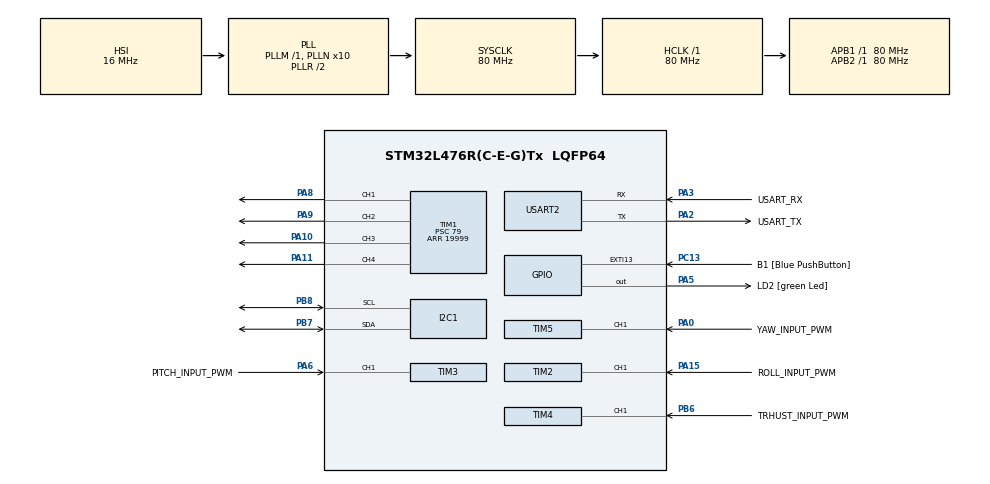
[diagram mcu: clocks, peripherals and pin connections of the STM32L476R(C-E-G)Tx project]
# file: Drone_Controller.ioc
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I2C1.Timing=0x10D19CE4
Mcu.Family=STM32L4
Mcu.Name=STM32L476R(C-E-G)Tx
Mcu.Package=LQFP64
NVIC.PriorityGroup=NVIC_PRIORITYGROUP_4
NVIC.TIM2_IRQn=true\:0\:0\:false\:false\:true\:true\:true\:true
NVIC.TIM3_IRQn=true\:0\:0\:false\:false\:true\:true\:true\:true
NVIC.TIM4_IRQn=true\:0\:0\:false\:false\:true\:true\:true\:true
NVIC.TIM5_IRQn=true\:0\:0\:false\:false\:true\:true\:true\:true
PA0.GPIO_Label=YAW_INPUT_PWM
PA0.Signal=S_TIM5_CH1
PA10.Signal=S_TIM1_CH3
PA11.Signal=S_TIM1_CH4
PA13\ (JTMS-SWDIO).GPIO_Label=TMS
PA13\ (JTMS-SWDIO).Mode=Serial_Wire
PA13\ (JTMS-SWDIO).Signal=SYS_JTMS-SWDIO
PA14\ (JTCK-SWCLK).GPIO_Label=TCK
PA14\ (JTCK-SWCLK).Mode=Serial_Wire
PA14\ (JTCK-SWCLK).Signal=SYS_JTCK-SWCLK
PA15\ (JTDI).GPIO_Label=ROLL_INPUT_PWM
PA15\ (JTDI).Signal=S_TIM2_CH1
PA2.GPIO_Label=USART_TX
PA2.GPIO_Mode=GPIO_MODE_AF_PP
PA2.GPIO_PuPd=GPIO_NOPULL
PA2.GPIO_Speed=GPIO_SPEED_FREQ_VERY_HIGH
PA2.Mode=Asynchronous
PA2.Signal=USART2_TX
PA3.GPIO_Label=USART_RX
PA3.GPIO_Mode=GPIO_MODE_AF_PP
PA3.GPIO_PuPd=GPIO_NOPULL
PA3.GPIO_Speed=GPIO_SPEED_FREQ_VERY_HIGH
PA3.Mode=Asynchronous
PA3.Signal=USART2_RX
PA5.GPIO_Label=LD2 [green Led]
PA5.GPIO_ModeDefaultOutputPP=GPIO_MODE_OUTPUT_PP
PA5.GPIO_PuPd=GPIO_NOPULL
PA5.GPIO_Speed=GPIO_SPEED_FREQ_LOW
PA5.Signal=GPIO_Output
PA6.GPIO_Label=PITCH_INPUT_PWM
PA6.Signal=S_TIM3_CH1
PA8.Signal=S_TIM1_CH1
PA9.Signal=S_TIM1_CH2
PB3\ (JTDO-TRACESWO).GPIO_Label=SWO
PB3\ (JTDO-TRACESWO).Signal=SYS_JTDO-SWO
PB6.GPIO_Label=TRHUST_INPUT_PWM
PB6.Signal=S_TIM4_CH1
PB7.Mode=I2C
PB7.Signal=I2C1_SDA
PB8.Mode=I2C
PB8.Signal=I2C1_SCL
PC13.GPIO_Label=B1 [Blue PushButton]
PC13.GPIO_ModeDefaultEXTI=GPIO_MODE_IT_FALLING
PC13.GPIO_PuPd=GPIO_NOPULL
PC13.Signal=GPXTI13
PC14-OSC32_IN\ (PC14).Mode=LSE-External-Oscillator
PC14-OSC32_IN\ (PC14).Signal=RCC_OSC32_IN
PC15-OSC32_OUT\ (PC15).Mode=LSE-External-Oscillator
PC15-OSC32_OUT\ (PC15).Signal=RCC_OSC32_OUT
PH0-OSC_IN\ (PH0).Signal=RCC_OSC_IN
PH1-OSC_OUT\ (PH1).Signal=RCC_OSC_OUT
ProjectManager.HeapSize=0x200
ProjectManager.StackSize=0x400
ProjectManager.TargetToolchain=STM32CubeIDE
RCC.ADCFreq_Value=64000000
RCC.AHBFreq_Value=80000000
RCC.APB1Freq_Value=80000000
RCC.APB1TimFreq_Value=80000000
RCC.APB2Freq_Value=80000000
RCC.APB2TimFreq_Value=80000000
RCC.CortexFreq_Value=80000000
RCC.HCLKFreq_Value=80000000
RCC.HSE_VALUE=8000000
RCC.HSI_VALUE=16000000
RCC.MSI_VALUE=4000000
RCC.PLLN=10
RCC.PLLSourceVirtual=RCC_PLLSOURCE_HSI
RCC.PREFETCH_ENABLE=1
RCC.SYSCLKFreq_VALUE=80000000
RCC.SYSCLKSource=RCC_SYSCLKSOURCE_PLLCLK
RCC.USBFreq_Value=64000000
RCC.VCOOutputFreq_Value=160000000
SH.S_TIM1_CH1.0=TIM1_CH1,PWM Generation1 CH1
SH.S_TIM1_CH2.0=TIM1_CH2,PWM Generation2 CH2
SH.S_TIM1_CH3.0=TIM1_CH3,PWM Generation3 CH3
SH.S_TIM1_CH4.0=TIM1_CH4,PWM Generation4 CH4
SH.S_TIM2_CH1.0=TIM2_CH1,PWM_Input_1
SH.S_TIM3_CH1.0=TIM3_CH1,PWM_Input_1
SH.S_TIM4_CH1.0=TIM4_CH1,PWM_Input_1
SH.S_TIM5_CH1.0=TIM5_CH1,PWM_Input_1
TIM1.Channel-PWM\ Generation1\ CH1=TIM_CHANNEL_1
TIM1.Channel-PWM\ Generation2\ CH2=TIM_CHANNEL_2
TIM1.Channel-PWM\ Generation3\ CH3=TIM_CHANNEL_3
TIM1.Channel-PWM\ Generation4\ CH4=TIM_CHANNEL_4
TIM1.Period=19999
TIM1.Prescaler=79
TIM2.Prescaler=0
TIM3.Period=25000
TIM3.Prescaler=79
TIM4.Period=25000
TIM4.Prescaler=79
USART2.VirtualMode-Asynchronous=VM_ASYNC
VP_TIM1_VS_ClockSourceINT.Mode=Internal
VP_TIM2_VS_ClockSourceINT.Mode=Internal
VP_TIM3_VS_ClockSourceINT.Mode=Internal
VP_TIM4_VS_ClockSourceINT.Mode=Internal
VP_TIM5_VS_ClockSourceINT.Mode=Internal
board=NUCLEO-L476RG

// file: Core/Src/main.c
/* USER CODE BEGIN Header */
/**
  ******************************************************************************
  * @file           : main.c
  * @brief          : Main program body
  ******************************************************************************
  * @attention
  *
  * Copyright (c) 2025 STMicroelectronics.
  * All rights reserved.
  *
  * This software is licensed under terms that can be found in the LICENSE file
  * in the root directory of this software component.
  * If no LICENSE file comes with this software, it is provided AS-IS.
  *
  ******************************************************************************
  */
/* USER CODE END Header */
#include "main.h"

/* USER CODE BEGIN Includes */
#include "accelerometer.h" // Include the accelerometer header file
#include <stdio.h> // Include standard I/O for printf
#include <string.h>
#include "PID.h"

/* USER CODE END Includes */

I2C_HandleTypeDef hi2c1;

TIM_HandleTypeDef htim1;
TIM_HandleTypeDef htim2;
TIM_HandleTypeDef htim3;
TIM_HandleTypeDef htim4;
TIM_HandleTypeDef htim5;

UART_HandleTypeDef huart2;

/* USER CODE BEGIN PV */
AccelData accel_data; // Structure to hold accelerometer data
GyroData gyro_data; // Structure to hold gyroscope data

Kalman_t kalman_pitch, kalman_roll; // Kalman filter structures for pitch and roll
float dt = 0.01f; // Time step (10 ms)

float pitch_calc, roll_calc; // Variables to hold calculated angles
float pitch_rate_calc, roll_rate_calc; // Variables to hold calculated rates
float yaw_rate = 0.0f; // Variable to hold yaw angle

PID pid_thrust, pid_pitch, pid_roll, pid_yaw; // PID controllers for pitch and roll
float M1, M2, M3, M4; // Motor control signals for the drone
float u_thrust, u_pitch, u_roll, u_yaw; // Control signals for thrust, pitch, roll and yaw

// Variables to log the angles, the actuators and the thrust
char tx_buffer[256]; // Buffer for UART transmission
uint32_t timestamp; // Timestamp for logging

// Variables for the transmitter inputs
int32_t roll_input, pitch_input, thrust_input, yaw_input;
float roll_input_deg, pitch_input_deg, thrust_input_g, yaw_input_degps;

int32_t previous_thrust_input = 0; // Variable to hold the previous thrust input for low-pass filtering
int32_t previous_roll_input = 0; // Variable to hold the previous roll input for low-pass filtering
int32_t previous_pitch_input = 0; // Variable to hold the previous pitch input for low-pass filtering
int32_t previous_yaw_input = 0; // Variable to hold the previous yaw input for low-pass filtering

// Gains (à régler)
float Kt = 1.0f/500.0f;   // gain thrust -> delta PWM
float Kp = 1.0f/30.0f;   // gain pitch  -> delta PWM
float Kr = 1.0f/30.0f;   // gain roll   -> delta PWM
float Ky = 1.0f/180.0f;   // gain yaw    -> delta PWM

/* USER CODE END PV */

void SystemClock_Config(void);
static void MX_GPIO_Init(void);
static void MX_USART2_UART_Init(void);
static void MX_TIM2_Init(void);
static void MX_I2C1_Init(void);
static void MX_TIM3_Init(void);
static void MX_TIM4_Init(void);
static void MX_TIM5_Init(void);
static void MX_TIM1_Init(void);

int main(void)
{

  /* MCU Configuration--------------------------------------------------------*/

  /* Reset of all peripherals, Initializes the Flash interface and the Systick. */
  HAL_Init();

  /* USER CODE BEGIN Init */
  Accelerometer_Init(&hi2c1); // Initialize the accelerometer
  Kalman_Init(&kalman_pitch, &kalman_roll); // Initialize Kalman filters for x, y, z axes

  // Initialize PID controllers for pitch and roll
  PID_Init(&pid_pitch, 1.0f, 0.1f, 0.01f, dt, -30, 30); // Initialize PID for pitch
  PID_Init(&pid_roll, 1.0f, 0.1f, 0.01f, dt, -30, 30); // Initialize PID for roll
  PID_Init(&pid_thrust, 1.0f, 0.1f, 0.01f, dt, 0, 2); // Initialize PID for thrust
  PID_Init(&pid_yaw, 1.0f, 0.1f, 0.01f, dt, -180, 180); // Initialize PID for yaw (if needed)

  timestamp = 0;

  /* USER CODE END Init */

  /* Configure the system clock */
  SystemClock_Config();

  /* Initialize all configured peripherals */
  MX_GPIO_Init();
  MX_USART2_UART_Init();
  MX_TIM2_Init();
  MX_I2C1_Init();
  MX_TIM3_Init();
  MX_TIM4_Init();
  MX_TIM5_Init();
  MX_TIM1_Init();
  /* USER CODE BEGIN 2 */

  // Start the TIM1 PWM channels for motor control
  HAL_TIM_PWM_Start(&htim1, TIM_CHANNEL_1);
  HAL_TIM_PWM_Start(&htim1, TIM_CHANNEL_2);
  HAL_TIM_PWM_Start(&htim1, TIM_CHANNEL_3);
  HAL_TIM_PWM_Start(&htim1, TIM_CHANNEL_4);

  // Arm the motors
  TIM1->CCR1 = 1000;
  TIM1->CCR2 = 1000;
  TIM1->CCR3 = 1000;
  TIM1->CCR4 = 1000;
  HAL_Delay(1000);
  TIM1->CCR1 = 2000;
  TIM1->CCR2 = 2000;
  TIM1->CCR3 = 2000;
  TIM1->CCR4 = 2000;
  HAL_Delay(1000);
  TIM1->CCR1 = 1000;
  TIM1->CCR2 = 1000;
  TIM1->CCR3 = 1000;
  TIM1->CCR4 = 1000;
  HAL_Delay(1000);
  /* USER CODE END 2 */

  /* Infinite loop */
  /* USER CODE BEGIN WHILE */
  while (1)
  {
    Accelerometer_Read(&hi2c1, &accel_data, &gyro_data); // Read accelerometer and gyro data

    angles_from_accel(accel_data, &pitch_calc, &roll_calc); // Calculate pitch and roll from accelerometer data
    angles_rate_from_gyro(gyro_data, &pitch_rate_calc, &roll_rate_calc, &yaw_rate); // Calculate pitch, roll and yaw rates from gyro data
    // Apply Kalman filter to the angles
    Kalman_GetAngle(&kalman_pitch, pitch_calc, pitch_rate_calc, dt);
    Kalman_GetAngle(&kalman_roll, roll_calc, roll_rate_calc, dt);

    // Calculate PID control for thrust, pitch, roll and yaw
    // u_thrust = PID_Compute(&pid_thrust, thrust_input_g, accel_data.z);
    u_pitch = PID_Compute(&pid_pitch, pitch_input_deg, kalman_pitch.angle);
    u_roll = PID_Compute(&pid_roll, roll_input_deg, kalman_roll.angle);
    u_yaw = PID_Compute(&pid_yaw, yaw_input_degps, yaw_rate);

    u_thrust = Kt * thrust_input; // Scale thrust control signal
    u_pitch = Kp * u_pitch; // Scale pitch control signal
    u_roll = Kr * u_roll; // Scale roll control signal
    u_yaw = Ky * u_yaw; // Scale yaw control signal

    /*
      Drone sketch (top view):
      (yaw is CCW for positive values)

          Back
          ROLL
           |
      [M3]     [M4]
         \     /
          \   /
           \ /
           [X]  -------> PITCH
           / \
          /   \
         /     \
      [M1]     [M2]
           |
           v
          Front
    */
    M1 = u_thrust - u_pitch - u_roll - u_yaw; // Motor 1 control signal CW
    M2 = u_thrust - u_pitch + u_roll + u_yaw; // Motor 2 control signal CCW
    M3 = u_thrust + u_pitch - u_roll + u_yaw; // Motor 3 control signal CCW
    M4 = u_thrust + u_pitch + u_roll - u_yaw; // Motor 4 control signal CW

    M1 = 1000 + (M1/4)*1000;
    M2 = 1000 + (M2/4)*1000;
    M3 = 1000 + (M3/4)*1000;
    M4 = 1000 + (M4/4)*1000;

    // Trouver le dépassement max
    float max_val = fmaxf(fmaxf(M1, M2), fmaxf(M3, M4));
    float min_val = fminf(fminf(M1, M2), fminf(M3, M4));

    // Calcul du facteur de scaling
    float scale = 1.0f;
    if (max_val > PWM_MAX) {
        float s = (PWM_MAX) / (max_val);
        if (s < scale) scale = s;
    }
    if (min_val < PWM_MIN) {
        float s = (PWM_MIN) / (min_val);
        if (s < scale) scale = s;
    }

    // Application du scaling (seulement sur les deltas)
    if (scale < 1.0f) {
        M1 = + (M1) * scale;
        M2 = + (M2) * scale;
        M3 = + (M3) * scale;
        M4 = + (M4) * scale;
    }

    // Clamp final
    M1 = fminf(fmaxf(M1, PWM_MIN), PWM_MAX);
    M2 = fminf(fmaxf(M2, PWM_MIN), PWM_MAX);
    M3 = fminf(fmaxf(M3, PWM_MIN), PWM_MAX);
    M4 = fminf(fmaxf(M4, PWM_MIN), PWM_MAX);

    TIM1->CCR1 = (uint32_t)M1; // Set PWM duty cycle for motor 1
    TIM1->CCR2 = (uint32_t)M2; // Set PWM duty cycle for motor 2
    TIM1->CCR3 = (uint32_t)M3; // Set PWM duty cycle for motor 3
    TIM1->CCR4 = (uint32_t)M4; // Set PWM duty cycle for motor 4

    HAL_Delay(dt * 1000);  // 10ms par boucle

    /* USER CODE END WHILE */

  }
}

void SystemClock_Config(void)
{
  RCC_OscInitTypeDef RCC_OscInitStruct = {0};
  RCC_ClkInitTypeDef RCC_ClkInitStruct = {0};

  /** Configure the main internal regulator output voltage
  */
  if (HAL_PWREx_ControlVoltageScaling(PWR_REGULATOR_VOLTAGE_SCALE1) != HAL_OK)
  {
    Error_Handler();
  }

  /** Initializes the RCC Oscillators according to the specified parameters
  * in the RCC_OscInitTypeDef structure.
  */
  RCC_OscInitStruct.OscillatorType = RCC_OSCILLATORTYPE_HSI;
  RCC_OscInitStruct.HSIState = RCC_HSI_ON;
  RCC_OscInitStruct.HSICalibrationValue = RCC_HSICALIBRATION_DEFAULT;
  RCC_OscInitStruct.PLL.PLLState = RCC_PLL_ON;
  RCC_OscInitStruct.PLL.PLLSource = RCC_PLLSOURCE_HSI;
  RCC_OscInitStruct.PLL.PLLM = 1;
  RCC_OscInitStruct.PLL.PLLN = 10;
  RCC_OscInitStruct.PLL.PLLP = RCC_PLLP_DIV7;
  RCC_OscInitStruct.PLL.PLLQ = RCC_PLLQ_DIV2;
  RCC_OscInitStruct.PLL.PLLR = RCC_PLLR_DIV2;
  if (HAL_RCC_OscConfig(&RCC_OscInitStruct) != HAL_OK)
  {
    Error_Handler();
  }

  /** Initializes the CPU, AHB and APB buses clocks
  */
  RCC_ClkInitStruct.ClockType = RCC_CLOCKTYPE_HCLK|RCC_CLOCKTYPE_SYSCLK
                              |RCC_CLOCKTYPE_PCLK1|RCC_CLOCKTYPE_PCLK2;
  RCC_ClkInitStruct.SYSCLKSource = RCC_SYSCLKSOURCE_PLLCLK;
  RCC_ClkInitStruct.AHBCLKDivider = RCC_SYSCLK_DIV1;
  RCC_ClkInitStruct.APB1CLKDivider = RCC_HCLK_DIV1;
  RCC_ClkInitStruct.APB2CLKDivider = RCC_HCLK_DIV1;

  if (HAL_RCC_ClockConfig(&RCC_ClkInitStruct, FLASH_LATENCY_4) != HAL_OK)
  {
    Error_Handler();
  }
}

static void MX_I2C1_Init(void)
{

  hi2c1.Instance = I2C1;
  hi2c1.Init.Timing = 0x10D19CE4;
  hi2c1.Init.OwnAddress1 = 0;
  hi2c1.Init.AddressingMode = I2C_ADDRESSINGMODE_7BIT;
  hi2c1.Init.DualAddressMode = I2C_DUALADDRESS_DISABLE;
  hi2c1.Init.OwnAddress2 = 0;
  hi2c1.Init.OwnAddress2Masks = I2C_OA2_NOMASK;
  hi2c1.Init.GeneralCallMode = I2C_GENERALCALL_DISABLE;
  hi2c1.Init.NoStretchMode = I2C_NOSTRETCH_DISABLE;
  if (HAL_I2C_Init(&hi2c1) != HAL_OK)
  {
    Error_Handler();
  }

  /** Configure Analogue filter
  */
  if (HAL_I2CEx_ConfigAnalogFilter(&hi2c1, I2C_ANALOGFILTER_ENABLE) != HAL_OK)
  {
    Error_Handler();
  }

  /** Configure Digital filter
  */
  if (HAL_I2CEx_ConfigDigitalFilter(&hi2c1, 0) != HAL_OK)
  {
    Error_Handler();
  }

}

static void MX_TIM1_Init(void)
{

  TIM_ClockConfigTypeDef sClockSourceConfig = {0};
  TIM_MasterConfigTypeDef sMasterConfig = {0};
  TIM_OC_InitTypeDef sConfigOC = {0};
  TIM_BreakDeadTimeConfigTypeDef sBreakDeadTimeConfig = {0};

  htim1.Instance = TIM1;
  htim1.Init.Prescaler = 79;
  htim1.Init.CounterMode = TIM_COUNTERMODE_UP;
  htim1.Init.Period = 19999;
  htim1.Init.ClockDivision = TIM_CLOCKDIVISION_DIV1;
  htim1.Init.RepetitionCounter = 0;
  htim1.Init.AutoReloadPreload = TIM_AUTORELOAD_PRELOAD_DISABLE;
  if (HAL_TIM_Base_Init(&htim1) != HAL_OK)
  {
    Error_Handler();
  }
  sClockSourceConfig.ClockSource = TIM_CLOCKSOURCE_INTERNAL;
  if (HAL_TIM_ConfigClockSource(&htim1, &sClockSourceConfig) != HAL_OK)
  {
    Error_Handler();
  }
  if (HAL_TIM_PWM_Init(&htim1) != HAL_OK)
  {
    Error_Handler();
  }
  sMasterConfig.MasterOutputTrigger = TIM_TRGO_RESET;
  sMasterConfig.MasterOutputTrigger2 = TIM_TRGO2_RESET;
  sMasterConfig.MasterSlaveMode = TIM_MASTERSLAVEMODE_DISABLE;
  if (HAL_TIMEx_MasterConfigSynchronization(&htim1, &sMasterConfig) != HAL_OK)
  {
    Error_Handler();
  }
  sConfigOC.OCMode = TIM_OCMODE_PWM1;
  sConfigOC.Pulse = 0;
  sConfigOC.OCPolarity = TIM_OCPOLARITY_HIGH;
  sConfigOC.OCNPolarity = TIM_OCNPOLARITY_HIGH;
  sConfigOC.OCFastMode = TIM_OCFAST_DISABLE;
  sConfigOC.OCIdleState = TIM_OCIDLESTATE_RESET;
  sConfigOC.OCNIdleState = TIM_OCNIDLESTATE_RESET;
  if (HAL_TIM_PWM_ConfigChannel(&htim1, &sConfigOC, TIM_CHANNEL_1) != HAL_OK)
  {
    Error_Handler();
  }
  if (HAL_TIM_PWM_ConfigChannel(&htim1, &sConfigOC, TIM_CHANNEL_2) != HAL_OK)
  {
    Error_Handler();
  }
  if (HAL_TIM_PWM_ConfigChannel(&htim1, &sConfigOC, TIM_CHANNEL_3) != HAL_OK)
  {
    Error_Handler();
  }
  if (HAL_TIM_PWM_ConfigChannel(&htim1, &sConfigOC, TIM_CHANNEL_4) != HAL_OK)
  {
    Error_Handler();
  }
  sBreakDeadTimeConfig.OffStateRunMode = TIM_OSSR_DISABLE;
  sBreakDeadTimeConfig.OffStateIDLEMode = TIM_OSSI_DISABLE;
  sBreakDeadTimeConfig.LockLevel = TIM_LOCKLEVEL_OFF;
  sBreakDeadTimeConfig.DeadTime = 0;
  sBreakDeadTimeConfig.BreakState = TIM_BREAK_DISABLE;
  sBreakDeadTimeConfig.BreakPolarity = TIM_BREAKPOLARITY_HIGH;
  sBreakDeadTimeConfig.BreakFilter = 0;
  sBreakDeadTimeConfig.Break2State = TIM_BREAK2_DISABLE;
  sBreakDeadTimeConfig.Break2Polarity = TIM_BREAK2POLARITY_HIGH;
  sBreakDeadTimeConfig.Break2Filter = 0;
  sBreakDeadTimeConfig.AutomaticOutput = TIM_AUTOMATICOUTPUT_DISABLE;
  if (HAL_TIMEx_ConfigBreakDeadTime(&htim1, &sBreakDeadTimeConfig) != HAL_OK)
  {
    Error_Handler();
  }
  HAL_TIM_MspPostInit(&htim1);

}

static void MX_TIM2_Init(void)
{

  TIM_ClockConfigTypeDef sClockSourceConfig = {0};
  TIM_SlaveConfigTypeDef sSlaveConfig = {0};
  TIM_IC_InitTypeDef sConfigIC = {0};
  TIM_MasterConfigTypeDef sMasterConfig = {0};

  htim2.Instance = TIM2;
  htim2.Init.Prescaler = 0;
  htim2.Init.CounterMode = TIM_COUNTERMODE_UP;
  htim2.Init.Period = 4294967295;
  htim2.Init.ClockDivision = TIM_CLOCKDIVISION_DIV1;
  htim2.Init.AutoReloadPreload = TIM_AUTORELOAD_PRELOAD_DISABLE;
  if (HAL_TIM_Base_Init(&htim2) != HAL_OK)
  {
    Error_Handler();
  }
  sClockSourceConfig.ClockSource = TIM_CLOCKSOURCE_INTERNAL;
  if (HAL_TIM_ConfigClockSource(&htim2, &sClockSourceConfig) != HAL_OK)
  {
    Error_Handler();
  }
  if (HAL_TIM_IC_Init(&htim2) != HAL_OK)
  {
    Error_Handler();
  }
  sSlaveConfig.SlaveMode = TIM_SLAVEMODE_RESET;
  sSlaveConfig.InputTrigger = TIM_TS_TI1FP1;
  sSlaveConfig.TriggerPolarity = TIM_INPUTCHANNELPOLARITY_RISING;
  sSlaveConfig.TriggerPrescaler = TIM_ICPSC_DIV1;
  sSlaveConfig.TriggerFilter = 0;
  if (HAL_TIM_SlaveConfigSynchro(&htim2, &sSlaveConfig) != HAL_OK)
  {
    Error_Handler();
  }
  sConfigIC.ICPolarity = TIM_INPUTCHANNELPOLARITY_RISING;
  sConfigIC.ICSelection = TIM_ICSELECTION_DIRECTTI;
  sConfigIC.ICPrescaler = TIM_ICPSC_DIV1;
  sConfigIC.ICFilter = 0;
  if (HAL_TIM_IC_ConfigChannel(&htim2, &sConfigIC, TIM_CHANNEL_1) != HAL_OK)
  {
    Error_Handler();
  }
  sConfigIC.ICPolarity = TIM_INPUTCHANNELPOLARITY_FALLING;
  sConfigIC.ICSelection = TIM_ICSELECTION_INDIRECTTI;
  if (HAL_TIM_IC_ConfigChannel(&htim2, &sConfigIC, TIM_CHANNEL_2) != HAL_OK)
  {
    Error_Handler();
  }
  sMasterConfig.MasterOutputTrigger = TIM_TRGO_RESET;
  sMasterConfig.MasterSlaveMode = TIM_MASTERSLAVEMODE_DISABLE;
  if (HAL_TIMEx_MasterConfigSynchronization(&htim2, &sMasterConfig) != HAL_OK)
  {
    Error_Handler();
  }
  /* USER CODE BEGIN TIM2_Init 2 */
  HAL_TIM_IC_Start_IT(&htim2, TIM_CHANNEL_1); // Start input capture on channel 1
  HAL_TIM_IC_Start_IT(&htim2, TIM_CHANNEL_2); // Start input capture on channel 2
  /* USER CODE END TIM2_Init 2 */

}

static void MX_TIM3_Init(void)
{

  TIM_ClockConfigTypeDef sClockSourceConfig = {0};
  TIM_SlaveConfigTypeDef sSlaveConfig = {0};
  TIM_IC_InitTypeDef sConfigIC = {0};
  TIM_MasterConfigTypeDef sMasterConfig = {0};

  htim3.Instance = TIM3;
  htim3.Init.Prescaler = 79;
  htim3.Init.CounterMode = TIM_COUNTERMODE_UP;
  htim3.Init.Period = 25000;
  htim3.Init.ClockDivision = TIM_CLOCKDIVISION_DIV1;
  htim3.Init.AutoReloadPreload = TIM_AUTORELOAD_PRELOAD_DISABLE;
  if (HAL_TIM_Base_Init(&htim3) != HAL_OK)
  {
    Error_Handler();
  }
  sClockSourceConfig.ClockSource = TIM_CLOCKSOURCE_INTERNAL;
  if (HAL_TIM_ConfigClockSource(&htim3, &sClockSourceConfig) != HAL_OK)
  {
    Error_Handler();
  }
  if (HAL_TIM_IC_Init(&htim3) != HAL_OK)
  {
    Error_Handler();
  }
  sSlaveConfig.SlaveMode = TIM_SLAVEMODE_RESET;
  sSlaveConfig.InputTrigger = TIM_TS_TI1FP1;
  sSlaveConfig.TriggerPolarity = TIM_INPUTCHANNELPOLARITY_RISING;
  sSlaveConfig.TriggerPrescaler = TIM_ICPSC_DIV1;
  sSlaveConfig.TriggerFilter = 0;
  if (HAL_TIM_SlaveConfigSynchro(&htim3, &sSlaveConfig) != HAL_OK)
  {
    Error_Handler();
  }
  sConfigIC.ICPolarity = TIM_INPUTCHANNELPOLARITY_RISING;
  sConfigIC.ICSelection = TIM_ICSELECTION_DIRECTTI;
  sConfigIC.ICPrescaler = TIM_ICPSC_DIV1;
  sConfigIC.ICFilter = 0;
  if (HAL_TIM_IC_ConfigChannel(&htim3, &sConfigIC, TIM_CHANNEL_1) != HAL_OK)
  {
    Error_Handler();
  }
  sConfigIC.ICPolarity = TIM_INPUTCHANNELPOLARITY_FALLING;
  sConfigIC.ICSelection = TIM_ICSELECTION_INDIRECTTI;
  if (HAL_TIM_IC_ConfigChannel(&htim3, &sConfigIC, TIM_CHANNEL_2) != HAL_OK)
  {
    Error_Handler();
  }
  sMasterConfig.MasterOutputTrigger = TIM_TRGO_RESET;
  sMasterConfig.MasterSlaveMode = TIM_MASTERSLAVEMODE_DISABLE;
  if (HAL_TIMEx_MasterConfigSynchronization(&htim3, &sMasterConfig) != HAL_OK)
  {
    Error_Handler();
  }
  /* USER CODE BEGIN TIM3_Init 2 */
  HAL_TIM_IC_Start_IT(&htim3, TIM_CHANNEL_1); // Start input capture on channel 1
  HAL_TIM_IC_Start_IT(&htim3, TIM_CHANNEL_2); // Start input capture on channel 2
  /* USER CODE END TIM3_Init 2 */

}

static void MX_TIM4_Init(void)
{

  TIM_ClockConfigTypeDef sClockSourceConfig = {0};
  TIM_SlaveConfigTypeDef sSlaveConfig = {0};
  TIM_IC_InitTypeDef sConfigIC = {0};
  TIM_MasterConfigTypeDef sMasterConfig = {0};

  htim4.Instance = TIM4;
  htim4.Init.Prescaler = 79;
  htim4.Init.CounterMode = TIM_COUNTERMODE_UP;
  htim4.Init.Period = 25000;
  htim4.Init.ClockDivision = TIM_CLOCKDIVISION_DIV1;
  htim4.Init.AutoReloadPreload = TIM_AUTORELOAD_PRELOAD_DISABLE;
  if (HAL_TIM_Base_Init(&htim4) != HAL_OK)
  {
    Error_Handler();
  }
  sClockSourceConfig.ClockSource = TIM_CLOCKSOURCE_INTERNAL;
  if (HAL_TIM_ConfigClockSource(&htim4, &sClockSourceConfig) != HAL_OK)
  {
    Error_Handler();
  }
  if (HAL_TIM_IC_Init(&htim4) != HAL_OK)
  {
    Error_Handler();
  }
  sSlaveConfig.SlaveMode = TIM_SLAVEMODE_RESET;
  sSlaveConfig.InputTrigger = TIM_TS_TI1FP1;
  sSlaveConfig.TriggerPolarity = TIM_INPUTCHANNELPOLARITY_RISING;
  sSlaveConfig.TriggerPrescaler = TIM_ICPSC_DIV1;
  sSlaveConfig.TriggerFilter = 0;
  if (HAL_TIM_SlaveConfigSynchro(&htim4, &sSlaveConfig) != HAL_OK)
  {
    Error_Handler();
  }
  sConfigIC.ICPolarity = TIM_INPUTCHANNELPOLARITY_RISING;
  sConfigIC.ICSelection = TIM_ICSELECTION_DIRECTTI;
  sConfigIC.ICPrescaler = TIM_ICPSC_DIV1;
  sConfigIC.ICFilter = 0;
  if (HAL_TIM_IC_ConfigChannel(&htim4, &sConfigIC, TIM_CHANNEL_1) != HAL_OK)
  {
    Error_Handler();
  }
  sConfigIC.ICPolarity = TIM_INPUTCHANNELPOLARITY_FALLING;
  sConfigIC.ICSelection = TIM_ICSELECTION_INDIRECTTI;
  if (HAL_TIM_IC_ConfigChannel(&htim4, &sConfigIC, TIM_CHANNEL_2) != HAL_OK)
  {
    Error_Handler();
  }
  sMasterConfig.MasterOutputTrigger = TIM_TRGO_RESET;
  sMasterConfig.MasterSlaveMode = TIM_MASTERSLAVEMODE_DISABLE;
  if (HAL_TIMEx_MasterConfigSynchronization(&htim4, &sMasterConfig) != HAL_OK)
  {
    Error_Handler();
  }
  /* USER CODE BEGIN TIM4_Init 2 */
  HAL_TIM_IC_Start_IT(&htim4, TIM_CHANNEL_1); // Start input capture on channel 1
  HAL_TIM_IC_Start_IT(&htim4, TIM_CHANNEL_2); // Start input capture on channel 2
  /* USER CODE END TIM4_Init 2 */

}

static void MX_TIM5_Init(void)
{

  TIM_ClockConfigTypeDef sClockSourceConfig = {0};
  TIM_SlaveConfigTypeDef sSlaveConfig = {0};
  TIM_IC_InitTypeDef sConfigIC = {0};
  TIM_MasterConfigTypeDef sMasterConfig = {0};

  htim5.Instance = TIM5;
  htim5.Init.Prescaler = 0;
  htim5.Init.CounterMode = TIM_COUNTERMODE_UP;
  htim5.Init.Period = 4294967295;
  htim5.Init.ClockDivision = TIM_CLOCKDIVISION_DIV1;
  htim5.Init.AutoReloadPreload = TIM_AUTORELOAD_PRELOAD_DISABLE;
  if (HAL_TIM_Base_Init(&htim5) != HAL_OK)
  {
    Error_Handler();
  }
  sClockSourceConfig.ClockSource = TIM_CLOCKSOURCE_INTERNAL;
  if (HAL_TIM_ConfigClockSource(&htim5, &sClockSourceConfig) != HAL_OK)
  {
    Error_Handler();
  }
  if (HAL_TIM_IC_Init(&htim5) != HAL_OK)
  {
    Error_Handler();
  }
  sSlaveConfig.SlaveMode = TIM_SLAVEMODE_RESET;
  sSlaveConfig.InputTrigger = TIM_TS_TI1FP1;
  sSlaveConfig.TriggerPolarity = TIM_INPUTCHANNELPOLARITY_RISING;
  sSlaveConfig.TriggerPrescaler = TIM_ICPSC_DIV1;
  sSlaveConfig.TriggerFilter = 0;
  if (HAL_TIM_SlaveConfigSynchro(&htim5, &sSlaveConfig) != HAL_OK)
  {
    Error_Handler();
  }
  sConfigIC.ICPolarity = TIM_INPUTCHANNELPOLARITY_RISING;
  sConfigIC.ICSelection = TIM_ICSELECTION_DIRECTTI;
  sConfigIC.ICPrescaler = TIM_ICPSC_DIV1;
  sConfigIC.ICFilter = 0;
  if (HAL_TIM_IC_ConfigChannel(&htim5, &sConfigIC, TIM_CHANNEL_1) != HAL_OK)
  {
    Error_Handler();
  }
  sConfigIC.ICPolarity = TIM_INPUTCHANNELPOLARITY_FALLING;
  sConfigIC.ICSelection = TIM_ICSELECTION_INDIRECTTI;
  if (HAL_TIM_IC_ConfigChannel(&htim5, &sConfigIC, TIM_CHANNEL_2) != HAL_OK)
  {
    Error_Handler();
  }
  sMasterConfig.MasterOutputTrigger = TIM_TRGO_RESET;
  sMasterConfig.MasterSlaveMode = TIM_MASTERSLAVEMODE_DISABLE;
  if (HAL_TIMEx_MasterConfigSynchronization(&htim5, &sMasterConfig) != HAL_OK)
  {
    Error_Handler();
  }
  /* USER CODE BEGIN TIM5_Init 2 */
  HAL_TIM_IC_Start_IT(&htim5, TIM_CHANNEL_1); // Start input capture on channel 1
  HAL_TIM_IC_Start_IT(&htim5, TIM_CHANNEL_2); // Start input capture on channel 2
  /* USER CODE END TIM5_Init 2 */

}

static void MX_USART2_UART_Init(void)
{

  huart2.Instance = USART2;
  huart2.Init.BaudRate = 115200;
  huart2.Init.WordLength = UART_WORDLENGTH_8B;
  huart2.Init.StopBits = UART_STOPBITS_1;
  huart2.Init.Parity = UART_PARITY_NONE;
  huart2.Init.Mode = UART_MODE_TX_RX;
  huart2.Init.HwFlowCtl = UART_HWCONTROL_NONE;
  huart2.Init.OverSampling = UART_OVERSAMPLING_16;
  huart2.Init.OneBitSampling = UART_ONE_BIT_SAMPLE_DISABLE;
  huart2.AdvancedInit.AdvFeatureInit = UART_ADVFEATURE_NO_INIT;
  if (HAL_UART_Init(&huart2) != HAL_OK)
  {
    Error_Handler();
  }

}

static void MX_GPIO_Init(void)
{
  GPIO_InitTypeDef GPIO_InitStruct = {0};

  /* GPIO Ports Clock Enable */
  __HAL_RCC_GPIOC_CLK_ENABLE();
  __HAL_RCC_GPIOH_CLK_ENABLE();
  __HAL_RCC_GPIOA_CLK_ENABLE();
  __HAL_RCC_GPIOB_CLK_ENABLE();

  /*Configure GPIO pin Output Level */
  HAL_GPIO_WritePin(LD2_GPIO_Port, LD2_Pin, GPIO_PIN_RESET);

  /*Configure GPIO pin : B1_Pin */
  GPIO_InitStruct.Pin = B1_Pin;
  GPIO_InitStruct.Mode = GPIO_MODE_IT_FALLING;
  GPIO_InitStruct.Pull = GPIO_NOPULL;
  HAL_GPIO_Init(B1_GPIO_Port, &GPIO_InitStruct);

  /*Configure GPIO pin : LD2_Pin */
  GPIO_InitStruct.Pin = LD2_Pin;
  GPIO_InitStruct.Mode = GPIO_MODE_OUTPUT_PP;
  GPIO_InitStruct.Pull = GPIO_NOPULL;
  GPIO_InitStruct.Speed = GPIO_SPEED_FREQ_LOW;
  HAL_GPIO_Init(LD2_GPIO_Port, &GPIO_InitStruct);

}

/* USER CODE BEGIN 4 */
int _write(int file, char *ptr, int len)
{
  (void)file;
  int DataIdx;

  for (DataIdx = 0; DataIdx < len; DataIdx++)
  {
    ITM_SendChar(*ptr++);
  }
  return len;
}

void log_data_uart() {
    sprintf(tx_buffer, "%lu,%.2f,%.2f,%.2f,%.2f,%.2f,%.2f,%.2f,%.2f,%.2f,%.2f,%.2f,%.2f,%.2f,%.2f\n",
        timestamp, M1, M2, M3, M4, u_pitch, u_roll, u_yaw, u_thrust, accel_data.x, accel_data.y, accel_data.z, gyro_data.x, gyro_data.y, gyro_data.z);

    HAL_UART_Transmit(&huart2, (uint8_t*)tx_buffer, strlen(tx_buffer), HAL_MAX_DELAY);
}

// void HAL_TIM_IC_CaptureCallback(TIM_HandleTypeDef *htim)
// {
// 	if (htim->Channel == HAL_TIM_ACTIVE_CHANNEL_1)  // If the interrupt is triggered by channel 1
// 	{
// 		// Read the IC value
// 		ICValue = HAL_TIM_ReadCapturedValue(htim, TIM_CHANNEL_1);

// 		if (ICValue != 0)
// 		{
// 			// calculate the Duty Cycle
// 			Duty = (HAL_TIM_ReadCapturedValue(htim, TIM_CHANNEL_2) *100)/ICValue;

// 			Frequency = 80000000/ICValue;
// 		}
// 	}
// }

void HAL_TIM_IC_CaptureCallback(TIM_HandleTypeDef *htim)
{
    if(htim ->Channel == HAL_TIM_ACTIVE_CHANNEL_1)
    {
      if(htim == &htim2)
      {
        roll_input = 10000 * HAL_TIM_ReadCapturedValue(htim, TIM_CHANNEL_2) / HAL_TIM_ReadCapturedValue(htim, TIM_CHANNEL_1) - 750;
        roll_input_deg = roll_input / 250 * MAX_ANGLE;

      }
      else if(htim->Instance == htim3.Instance)
      {
        pitch_input = 10000 * HAL_TIM_ReadCapturedValue(htim, TIM_CHANNEL_2) / HAL_TIM_ReadCapturedValue(htim, TIM_CHANNEL_1) - 750;
        pitch_input_deg = pitch_input / 250 * MAX_ANGLE;
        // pitch_input = low_pass_filter(pitch_input, previous_pitch_input, 0.1f);
        // previous_pitch_input = pitch_input;
      }
      else if(htim->Instance == htim4.Instance)
      {
        thrust_input = 10000 * HAL_TIM_ReadCapturedValue(htim, TIM_CHANNEL_2) / HAL_TIM_ReadCapturedValue(htim, TIM_CHANNEL_1) - 500;
        // thrust_input_g = ((float)thrust_input - 250) / 250 * MAX_ACCEL_G;
      }
      else if(htim->Instance == htim5.Instance)
      {
        yaw_input = 10000 * HAL_TIM_ReadCapturedValue(htim, TIM_CHANNEL_2) / HAL_TIM_ReadCapturedValue(htim, TIM_CHANNEL_1) - 750;
        yaw_input_degps = yaw_input / 250 * MAX_YAW_RATE;
      }
     }
}
/* USER CODE END 4 */

void Error_Handler(void)
{
  __disable_irq();
  while (1)
  {
  }
}
